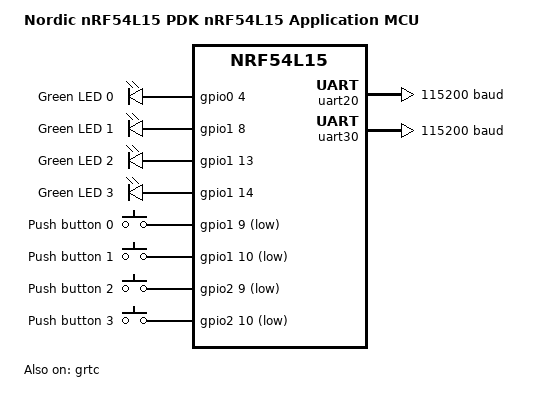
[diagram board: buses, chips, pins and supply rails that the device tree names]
/*
 * Copyright (c) 2024 Nordic Semiconductor ASA
 *
 * SPDX-License-Identifier: Apache-2.0
 */

/dts-v1/;
#include <nordic/nrf54l15_cpuapp.dtsi>
#include "nrf54l15pdk_nrf54l15_cpuapp-pinctrl.dtsi"

/ {
	model = "Nordic nRF54L15 PDK nRF54L15 Application MCU";
	compatible = "nordic,nrf54l15pdk_nrf54l15-cpuapp";

	chosen {
		zephyr,console = &uart20;
		zephyr,shell-uart = &uart20;
		zephyr,sram = &sram0;
		zephyr,flash = &rram0;
		zephyr,code-partition = &slot0_partition;
	};

	leds {
		compatible = "gpio-leds";
		led0: led_0 {
			gpios = <&gpio0 4 GPIO_ACTIVE_HIGH>;
			label = "Green LED 0";
		};
		led1: led_1 {
			gpios = <&gpio1 8 GPIO_ACTIVE_HIGH>;
			label = "Green LED 1";
		};
		led2: led_2 {
			gpios = <&gpio1 13 GPIO_ACTIVE_HIGH>;
			label = "Green LED 2";
		};
		led3: led_3 {
			gpios = <&gpio1 14 GPIO_ACTIVE_HIGH>;
			label = "Green LED 3";
		};
	};

	buttons {
		compatible = "gpio-keys";
		button0: button_0 {
			gpios = <&gpio1 9 (GPIO_PULL_UP | GPIO_ACTIVE_LOW)>;
			label = "Push button 0";
		};
		button1: button_1 {
			gpios = <&gpio1 10 (GPIO_PULL_UP | GPIO_ACTIVE_LOW)>;
			label = "Push button 1";
		};
		button2: button_2 {
			gpios = <&gpio2 9 (GPIO_PULL_UP | GPIO_ACTIVE_LOW)>;
			label = "Push button 2";
		};
		button3: button_3 {
			gpios = <&gpio2 10 (GPIO_PULL_UP | GPIO_ACTIVE_LOW)>;
			label = "Push button 3";
		};
	};

	aliases {
		led0 = &led0;
		led1 = &led1;
		led2 = &led2;
		led3 = &led3;
		watchdog0 = &wdt30;
		sw0 = &button0;
		sw1 = &button1;
		sw2 = &button2;
		sw3 = &button3;
	};
};

&uart20 {
	status = "okay";
	current-speed = <115200>;
	pinctrl-0 = <&uart20_default>;
	pinctrl-1 = <&uart20_sleep>;
	pinctrl-names = "default", "sleep";
};

&uart30 {
	current-speed = <115200>;
	pinctrl-0 = <&uart30_default>;
	pinctrl-1 = <&uart30_sleep>;
	pinctrl-names = "default", "sleep";
};

&grtc {
	owned-channels = <0 1 2 3 4 5 6 7 8 9 10 11>;
	child-owned-channels = <7 8 9 10 11>; /* reserved channels for MPSL */
	interrupts = <228 NRF_DEFAULT_IRQ_PRIORITY
				229 NRF_DEFAULT_IRQ_PRIORITY>; /* MPSL uses the GRTC_3_IRQn */
	status = "okay";
};

/* Disable by default to use GRTC */
&systick {
	status = "disabled";
};

&gpio0 {
	status = "okay";
};

&gpio1 {
	status = "okay";
};

&gpio2 {
	status = "okay";
};

&gpiote20 {
	status = "okay";
};

&gpiote30 {
	status = "okay";
};

&rram0 {
	partitions {
		compatible = "fixed-partitions";
		#address-cells = <1>;
		#size-cells = <1>;
		slot0_partition: partition@0 {
			label = "image-0";
			reg = <0x0 DT_SIZE_K(64)>;
		};
		storage_partition: partition@f2000 {
			label = "storage";
			reg = <0xf2000 DT_SIZE_K(24)>;
		};
	};
};
